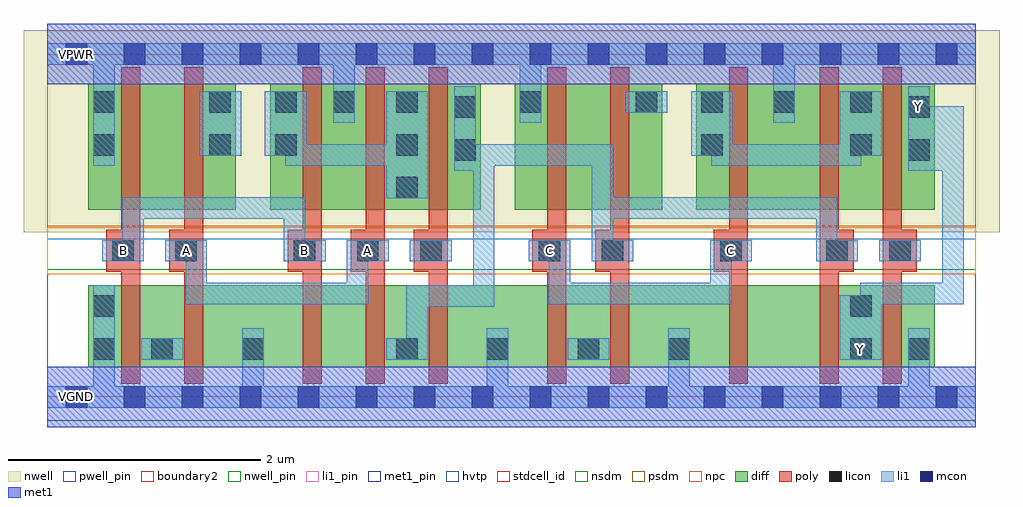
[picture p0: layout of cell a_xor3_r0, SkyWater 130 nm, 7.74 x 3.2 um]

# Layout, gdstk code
import gdstk
lib = gdstk.Library(unit=1e-6, precision=1e-09)
def R(c, l, rs):  # rectangles x0, y0, x1, y1
    for r in rs: c.add(gdstk.rectangle(r[:2], r[2:], *l))
def A(c, l, x, y, w, h, nx, ny, dx, dy):  # array of equal rectangles
    R(c, l, [(x+i*dx, y+j*dy, x+i*dx+w, y+j*dy+h) for i in range(nx) for j in range(ny)])
nwell_pin = (64, 16)
nwell = (64, 20)
diff = (65, 20)
poly = (66, 20)
licon = (66, 44)
li1_pin = (67, 16)
li1 = (67, 20)
mcon = (67, 44)
met1_pin = (68, 16)
met1 = (68, 20)
hvtp = (78, 44)
stdcell_id = (81, 4)
nsdm = (93, 44)
psdm = (94, 20)
npc = (95, 20)
pwell_pin = (122, 16)
boundary2 = (236, 0)

a_xor3_r0 = lib.new_cell('a_xor3_r0')
R(a_xor3_r0, nwell_pin, [(0.145,2.635,0.315,2.805)])
R(a_xor3_r0, nwell, [(-0.19,1.305,7.55,2.91)])
A(a_xor3_r0, diff, 2.85, 0.235, 0.72, 0.65, 3, 1, 0.72, 0)
R(a_xor3_r0, diff, [(0.325,0.235,0.91,0.885), (0.91,0.235,1.63,0.885), (1.63,0.235,2.35,0.885), (2.35,0.235,2.85,0.885), (5.01,0.235,5.84,0.885), (5.84,0.235,6.45,0.885), (6.45,0.235,7.035,0.885), (0.325,1.485,0.91,2.485), (0.91,1.485,1.495,2.485), (1.765,1.485,2.35,2.485), (2.35,1.485,2.85,2.485), (2.85,1.485,3.435,2.485), (3.705,1.485,4.29,2.485), (4.29,1.485,4.875,2.485), (5.145,1.485,5.84,2.485), (5.84,1.485,6.45,2.485), (6.45,1.485,7.035,2.485)])
A(a_xor3_r0, poly, 2.025, 0.105, 0.15, 2.51, 3, 1, 0.5, 0)
A(a_xor3_r0, poly, 1.905, 0.995, 0.27, 0.33, 3, 1, 0.5, 0)
R(a_xor3_r0, poly, [(0.585,0.105,0.735,2.615), (1.085,0.105,1.235,2.615), (3.965,0.105,4.115,2.615), (4.465,0.105,4.615,2.615), (5.405,0.105,5.555,2.615), (6.125,0.105,6.275,2.615), (6.625,0.105,6.775,2.615), (0.465,0.995,0.735,1.325), (0.965,0.995,1.235,1.325), (3.845,0.995,4.115,1.325), (4.345,0.995,4.615,1.325), (5.285,0.995,5.555,1.325), (6.125,0.995,6.395,1.325), (6.625,0.995,6.895,1.325)])
A(a_xor3_r0, licon, 2.765, 0.295, 0.17, 0.17, 4, 1, 0.72, 0)
A(a_xor3_r0, licon, 1.955, 1.075, 0.17, 0.17, 3, 1, 0.5, 0)
A(a_xor3_r0, licon, 2.765, 1.575, 0.17, 0.17, 1, 3, 0, 0.34)
R(a_xor3_r0, licon, [(0.365,0.295,0.535,0.465), (0.825,0.295,0.995,0.465), (1.545,0.295,1.715,0.465), (6.365,0.295,6.535,0.465), (6.825,0.295,6.995,0.465), (0.365,0.635,0.535,0.805), (6.365,0.635,6.535,0.805), (0.515,1.075,0.685,1.245), (1.015,1.075,1.185,1.245), (3.895,1.075,4.065,1.245), (4.395,1.075,4.565,1.245), (5.335,1.075,5.505,1.245), (6.175,1.075,6.345,1.245), (6.675,1.075,6.845,1.245), (3.225,1.875,3.395,2.045), (6.825,1.875,6.995,2.045), (0.365,1.915,0.535,2.085), (1.285,1.915,1.455,2.085), (1.805,1.915,1.975,2.085), (5.185,1.915,5.355,2.085), (6.365,1.915,6.535,2.085), (3.225,2.215,3.395,2.385), (6.825,2.215,6.995,2.385), (0.365,2.255,0.535,2.425), (1.285,2.255,1.455,2.425), (1.805,2.255,1.975,2.425), (2.265,2.255,2.435,2.425), (3.745,2.255,3.915,2.425), (4.665,2.255,4.835,2.425), (5.185,2.255,5.355,2.425), (5.755,2.255,5.925,2.425), (6.365,2.255,6.535,2.425)])
A(a_xor3_r0, li1_pin, 2.455, 1.075, 0.17, 0.17, 3, 1, 1.44, 0)
R(a_xor3_r0, li1_pin, [(6.365,0.295,6.535,0.465), (0.515,1.075,0.685,1.245), (1.015,1.075,1.185,1.245), (1.955,1.075,2.125,1.245), (6.825,2.215,6.995,2.385)])
A(a_xor3_r0, li1, 1.875, 1.075, 0.33, 0.17, 3, 1, 0.5, 0)
R(a_xor3_r0, li1, [(0,-0.085,7.36,0.085), (0.365,-0.085,0.535,0.545), (1.545,-0.085,1.715,0.545), (3.485,-0.085,3.655,0.545), (4.925,-0.085,5.095,0.545), (6.825,-0.085,6.995,0.545), (0.365,0.295,0.535,0.885), (0.745,0.295,1.075,0.465), (2.685,0.295,3.015,0.465), (2.845,0.295,3.015,0.885), (4.125,0.295,4.455,0.465), (6.285,0.295,6.615,0.465), (6.285,0.295,6.615,0.805), (6.445,0.295,6.615,0.905), (2.845,0.715,3.545,0.885), (3.375,0.715,3.545,2.005), (1.095,0.735,1.265,1.245), (1.095,0.735,2.545,0.905), (2.375,0.735,2.545,1.245), (3.975,0.735,4.145,1.245), (3.975,0.735,5.425,0.905), (5.255,0.735,5.425,1.245), (6.445,0.735,7.265,0.905), (7.095,0.735,7.265,2.305), (0.435,1.075,0.765,1.245), (0.595,1.075,0.765,1.585), (0.935,1.075,1.265,1.245), (1.875,1.075,2.045,1.585), (3.815,1.075,4.145,1.245), (4.315,1.075,4.645,1.245), (4.315,1.075,4.485,2.005), (5.255,1.075,5.585,1.245), (6.095,1.075,6.425,1.245), (6.095,1.075,6.265,1.585), (6.595,1.075,6.925,1.245), (0.595,1.415,2.045,1.585), (4.315,1.415,6.265,1.585), (2.685,1.575,3.015,2.085), (3.225,1.795,3.395,2.385), (6.825,1.795,6.995,2.385), (6.995,1.795,7.095,2.305), (6.995,1.795,7.095,2.305), (6.995,1.795,7.095,2.305), (6.995,1.795,7.095,2.305), (0.365,1.835,0.535,2.425), (1.885,1.835,2.055,2.425), (1.885,1.835,2.855,2.005), (2.685,1.835,2.855,2.425), (3.225,1.835,4.485,2.005), (3.225,1.835,3.395,2.305), (5.265,1.835,5.435,2.425), (5.265,1.835,6.455,2.005), (6.285,1.835,6.455,2.425), (1.205,1.915,1.535,2.425), (1.725,1.915,2.055,2.425), (2.685,1.915,3.015,2.425), (5.105,1.915,5.435,2.425), (6.285,1.915,6.615,2.425), (3.225,2.005,3.395,2.135), (3.225,2.005,3.395,2.135), (3.225,2.005,3.395,2.135), (3.225,2.005,3.395,2.135), (3.375,2.005,3.395,2.135), (3.375,2.005,3.395,2.135), (3.375,2.005,3.395,2.135), (3.375,2.005,3.395,2.135), (3.225,2.135,3.395,2.465), (6.825,2.135,6.995,2.465), (6.825,2.135,7.265,2.305), (6.995,2.135,7.095,2.305), (6.995,2.135,7.095,2.305), (6.995,2.135,7.095,2.305), (6.995,2.135,7.095,2.305), (0.365,2.175,0.535,2.805), (2.265,2.175,2.435,2.805), (3.745,2.175,3.915,2.805), (5.755,2.175,5.925,2.805), (1.205,2.255,1.535,2.425), (1.725,2.255,2.055,2.425), (2.685,2.255,3.015,2.425), (4.585,2.255,4.915,2.425), (5.105,2.255,5.435,2.425), (6.285,2.255,6.615,2.425), (0,2.635,7.36,2.805)])
A(a_xor3_r0, mcon, 0.145, -0.085, 0.17, 0.17, 16, 2, 0.46, 2.72)
R(a_xor3_r0, met1_pin, [(0.145,-0.085,0.315,0.085), (0.145,2.635,0.315,2.805)])
R(a_xor3_r0, met1, [(0,-0.24,7.36,0.24), (0,2.48,7.36,2.96)])
R(a_xor3_r0, hvtp, [(0,1.25,7.36,2.72)])
R(a_xor3_r0, stdcell_id, [(0,0,7.36,2.72)])
R(a_xor3_r0, nsdm, [(0,-0.19,7.36,1.015)])
R(a_xor3_r0, psdm, [(0,1.355,7.36,2.91)])
R(a_xor3_r0, npc, [(0,0.975,7.36,1.345)])
R(a_xor3_r0, pwell_pin, [(0.145,-0.085,0.315,0.085)])
R(a_xor3_r0, boundary2, [(0,0,7.36,2.72)])
a_xor3_r0.add(gdstk.Label('A', (1.1,1.16), layer=67, texttype=5))
a_xor3_r0.add(gdstk.Label('A', (2.54,1.16), layer=67, texttype=5))
a_xor3_r0.add(gdstk.Label('B', (0.6,1.16), layer=67, texttype=5))
a_xor3_r0.add(gdstk.Label('B', (2.04,1.16), layer=67, texttype=5))
a_xor3_r0.add(gdstk.Label('C', (3.98,1.16), layer=67, texttype=5))
a_xor3_r0.add(gdstk.Label('C', (5.42,1.16), layer=67, texttype=5))
a_xor3_r0.add(gdstk.Label('Y', (6.45,0.38), layer=67, texttype=5))
a_xor3_r0.add(gdstk.Label('Y', (6.91,2.3), layer=67, texttype=5))
a_xor3_r0.add(gdstk.Label('VGND', (0.23,0), layer=68, texttype=5))
a_xor3_r0.add(gdstk.Label('VPWR', (0.23,2.72), layer=68, texttype=5))
a_xor3_r0.add(gdstk.Label('VPB', (0.23,2.72), layer=64, texttype=5))
a_xor3_r0.add(gdstk.Label('VNB', (0.23,0), layer=64, texttype=59))

lib.write_gds('a_xor3_r0.gds')
